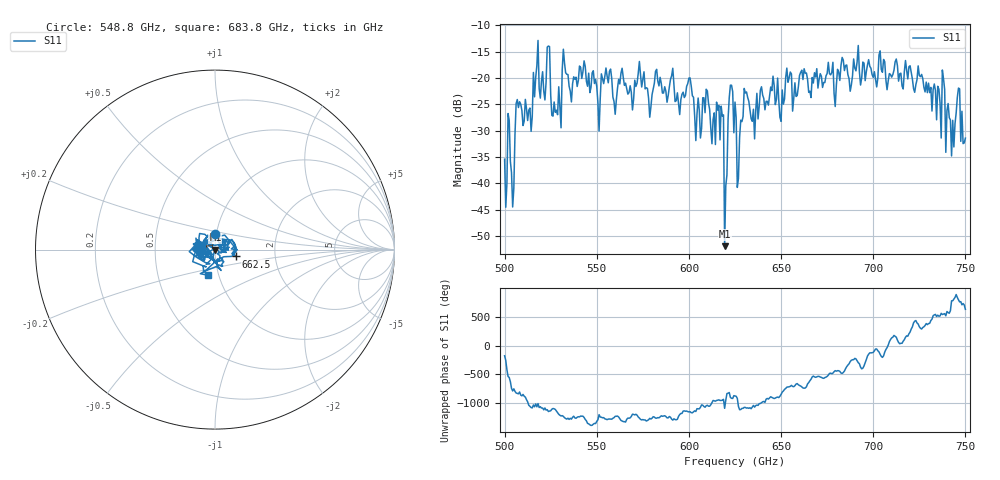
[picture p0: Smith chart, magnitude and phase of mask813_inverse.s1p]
!Created with skrf (http://scikit-rf.org).
# GHz S MA R 50.0
!freq magS11 angS11
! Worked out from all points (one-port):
!   401 points, 500 GHz to 750 GHz, reference 50 ohm
!   lowest |S11| = -51.9 dB at 619.4 GHz (marker M1), VSWR 1.01, Z = 50.3 - j0.0298 ohm
!   |S11| at or under -10 dB: start of sweep to end of sweep
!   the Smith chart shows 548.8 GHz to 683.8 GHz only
!   S11 on the Smith chart (normalised r, x): 548.8 GHz: 0.98, +0.18; 662.5 GHz: 1.26, -0.10; 683.8 GHz: 0.89, -0.26
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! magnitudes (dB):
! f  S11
! 500 GHz  -35.4
! 504.4 GHz  -44.5
! 507.5 GHz  -25.6
! 513.8 GHz  -25.7
! 516.9 GHz  -19.9
! 523.8 GHz  -13.9
! 526.9 GHz  -24.5
! 531.2 GHz  -18.5
! 548.8 GHz  -21.0
! 562.5 GHz  -21.1
! 593.8 GHz  -22.8
! 600 GHz  -20.0
! 616.2 GHz  -25.2
! 619.4 GHz  -51.9
! 620.6 GHz  -38.4
! 622.5 GHz  -21.3
! 625 GHz  -24.6
! 627.5 GHz  -31.2
! 631.2 GHz  -22.6
! 635 GHz  -25.9
! 656.2 GHz  -26.3
! 662.5 GHz  -18.2
! 683.8 GHz  -16.6
! 687.5 GHz  -22.5
! 718.8 GHz  -20.2
! 743.1 GHz  -28.0
! 745.6 GHz  -23.7
! 750 GHz  -31.4
